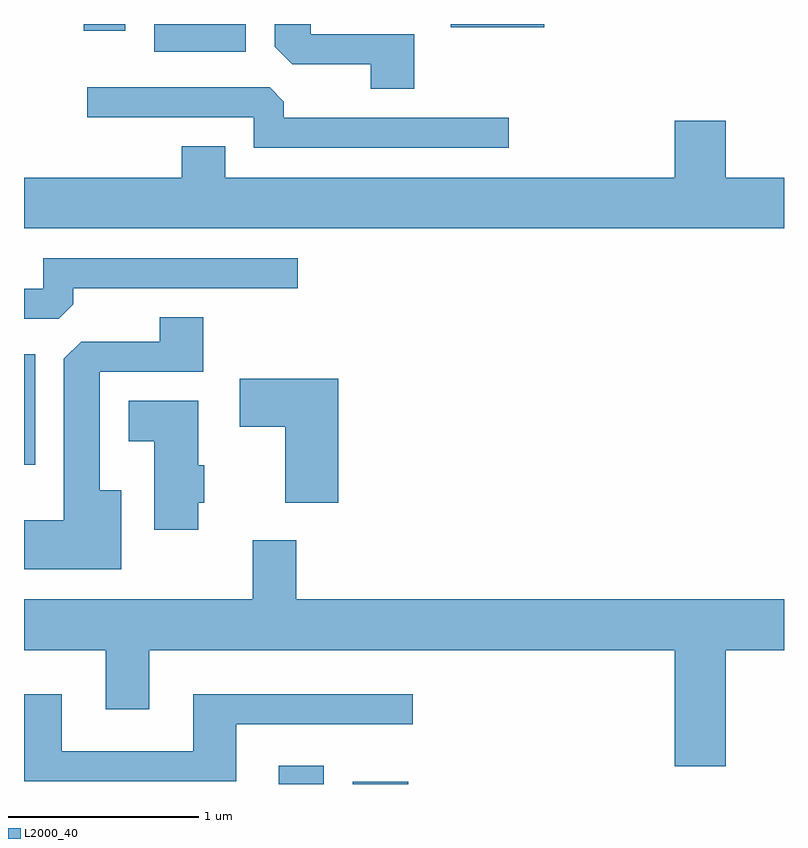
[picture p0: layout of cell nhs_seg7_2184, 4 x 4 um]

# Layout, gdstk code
import gdstk
lib = gdstk.Library(unit=1e-6, precision=1e-09)
def R(c, l, rs):  # rectangles x0, y0, x1, y1
    for r in rs: c.add(gdstk.rectangle(r[:2], r[2:], *l))
def P(c, l, *ps):  # polygons
    for p in ps: c.add(gdstk.Polygon(p, *l))
L2000_40 = (2000, 40)

nhs_seg7_2184 = lib.new_cell('nhs_seg7_2184')
R(nhs_seg7_2184, L2000_40, [(252.953,1740.252,253.189,1740.349), (253.341,1740.252,253.634,1740.264), (251.611,1741.931,251.669,1742.514), (252.296,1744.106,252.779,1744.252), (251.926,1744.216,252.144,1744.252), (253.856,1744.236,254.349,1744.252)])
P(nhs_seg7_2184, L2000_40, [(253.664,1744.199),(253.119,1744.199),(253.119,1744.252),(252.931,1744.252),(252.931,1744.132),(253.022,1744.041),(253.436,1744.041),(253.436,1743.911),(253.664,1743.911)],
  [(254.163,1743.759),(252.979,1743.759),(252.979,1743.844),(252.904,1743.919),(251.943,1743.919),(251.943,1743.761),(252.821,1743.761),(252.821,1743.601),(254.163,1743.601)],
  [(255.611,1743.444),(255.304,1743.444),(255.304,1743.744),(255.036,1743.744),(255.036,1743.444),(252.669,1743.444),(252.669,1743.609),(252.441,1743.609),(252.441,1743.444),(251.611,1743.444),(251.611,1743.176),(255.611,1743.176)],
  [(251.869,1742.777),(251.869,1742.861),(253.053,1742.861),(253.053,1743.019),(251.711,1743.019),(251.711,1742.859),(251.611,1742.859),(251.611,1742.701),(251.794,1742.701)],
  [(252.124,1741.799),(252.009,1741.799),(252.009,1742.421),(252.554,1742.421),(252.554,1742.709),(252.326,1742.709),(252.326,1742.579),(251.912,1742.579),(251.821,1742.489),(251.821,1741.639),(251.611,1741.639),(251.611,1741.381),(252.124,1741.381)],
  [(253.264,1742.384),(252.746,1742.384),(252.746,1742.131),(252.986,1742.131),(252.986,1741.731),(253.264,1741.731)],
  [(252.529,1741.731),(252.559,1741.731),(252.559,1741.929),(252.529,1741.929),(252.529,1742.269),(252.161,1742.269),(252.161,1742.056),(252.296,1742.056),(252.296,1741.591),(252.529,1741.591)],
  [(255.304,1740.956),(255.611,1740.956),(255.611,1741.224),(253.044,1741.224),(253.044,1741.534),(252.816,1741.534),(252.816,1741.224),(251.611,1741.224),(251.611,1740.956),(252.041,1740.956),(252.041,1740.646),(252.269,1740.646),(252.269,1740.956),(255.036,1740.956),(255.036,1740.346),(255.304,1740.346)],
  [(252.729,1740.566),(253.658,1740.566),(253.658,1740.724),(252.501,1740.724),(252.501,1740.424),(251.809,1740.424),(251.809,1740.724),(251.611,1740.724),(251.611,1740.266),(252.729,1740.266)])

lib.write_gds('nhs_seg7_2184.gds')
